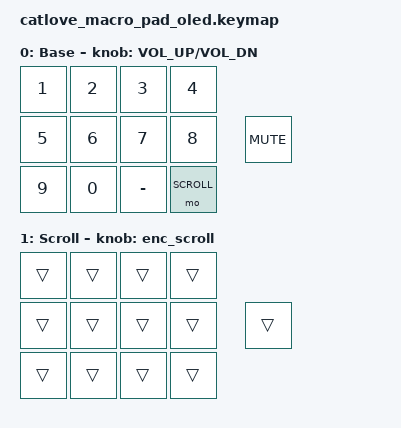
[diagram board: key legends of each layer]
#include <behaviors.dtsi>
#include <dt-bindings/zmk/keys.h>
#include <dt-bindings/zmk/pointing.h>

#define BASE   0
#define SCROLL 1

// Scroll wheel should react immediately on every encoder detent.
&msc {
    time-to-max-speed-ms = <0>;
};

/ {
    behaviors {
        // Encoder rotation -> mouse wheel.
        // Clockwise (right) = scroll down, counterclockwise (left) = scroll up.
        enc_scroll: encoder_scroll {
            compatible = "zmk,behavior-sensor-rotate";
            #sensor-binding-cells = <0>;
            bindings = <&msc SCRL_DOWN>, <&msc SCRL_UP>;
            tap-ms = <20>;
        };
    };

    keymap {
        compatible = "zmk,keymap";

        default_layer {
            display-name = "Base";
            bindings = <
                &kp N1  &kp N2  &kp N3     &kp N4
                &kp N5  &kp N6  &kp N7     &kp N8
                &kp N9  &kp N0  &kp MINUS  &mo SCROLL
                &kp C_MUTE
            >;
            // Clockwise: volume up; counterclockwise: volume down.
            sensor-bindings = <&inc_dec_kp C_VOL_UP C_VOL_DN>;
        };

        scroll_layer {
            display-name = "Scroll";
            bindings = <
                &trans  &trans  &trans  &trans
                &trans  &trans  &trans  &trans
                &trans  &trans  &trans  &trans
                &trans
            >;
            // While the bottom-right key is held: rotate the encoder to scroll.
            sensor-bindings = <&enc_scroll>;
        };
    };
};
